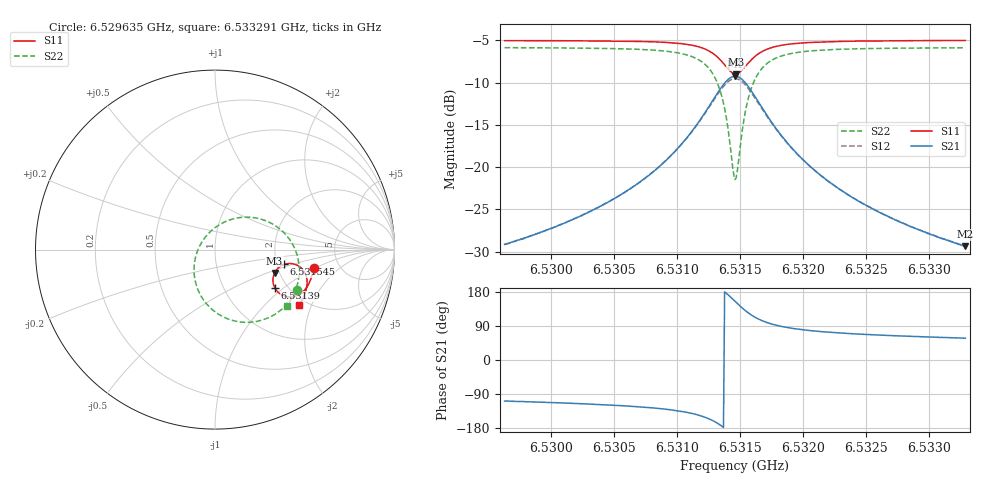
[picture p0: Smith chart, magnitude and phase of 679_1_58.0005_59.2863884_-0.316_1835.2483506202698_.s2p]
#  HZ  S  RI  R  50.00
! Rohde & Schwarz Vector Network Analyzer
! Rohde-Schwarz,ZNB20-2Port,1311601062101988,3.16
! Created: UTC 3/21/2024, 1:20:46 AM
! freq[Hz]  re:S11  im:S11  re:S21  im:S21  re:S12  im:S12  re:S22  im:S22
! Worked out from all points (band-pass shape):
!   401 points, 6.529635 GHz to 6.533291 GHz, reference 50 ohm
!   highest |S21| = -9.24 dB at 6.531463 GHz (marker M1); lowest = -29.3 dB at 6.533291 GHz (marker M2)
!   |S21| within 3 dB of the highest: 6.531281 GHz to 6.531646 GHz (365 kHz wide, 0.00559 % of centre)
!   lowest |S11| = -9.0 dB at 6.531472 GHz (marker M3), VSWR 2.11, Z = 94.2 - j28.1 ohm
!   |S11| at or under -10 dB: nowhere
!   |S22| runs from -21.5 to -5.9 dB; largest |S21 - S12| = 0.015
!   S11 on the Smith chart (normalised r, x): 6.529635 GHz: 3.23, -0.97; 6.53139 GHz: 1.72, -0.87; 6.531545 GHz: 2.20, -0.43; 6.533291 GHz: 1.83, -1.64
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6.5296349e9  0.5509 -0.103  -0.0111 -0.0331  -0.0117 -0.0329  0.4577 -0.2228
6.5302472e9  0.5371 -0.1552  -0.0221 -0.0467  -0.0234 -0.0463  0.4208 -0.2811
6.5305671e9  0.5246 -0.186  -0.0355 -0.0598  -0.037 -0.0588  0.3862 -0.3198
6.5308595e9  0.5041 -0.2192  -0.0618 -0.0792  -0.0642 -0.0772  0.3268 -0.3648
6.5310789e9  0.4715 -0.2487  -0.1104 -0.0992  -0.1136 -0.0949  0.2296 -0.4006
6.5312342e9  0.4202 -0.264  -0.1908 -0.1001  -0.1925 -0.0916  0.0849 -0.3908
6.5313256e9  0.3691 -0.2509  -0.2688 -0.0607  -0.266 -0.049  -0.0418 -0.3082
6.5313622e9  0.3471 -0.233  -0.3009 -0.0234  -0.2947 -0.0115  -0.0881 -0.2394
6.5313896e9  0.3331 -0.2128  -0.3196 0.0151  -0.3102 0.0258  -0.1109 -0.1717
6.5314444e9  0.3236 -0.1587  -0.3244 0.1122  -0.3108 0.1175  -0.0992 -0.0118
6.5314627e9  0.3281 -0.1395  -0.3131 0.1456  -0.2992 0.1482  -0.0745 0.0399
6.5314718e9  0.3318 -0.1304  -0.305 0.1611  -0.2913 0.1627  -0.0584 0.0639
6.5315084e9  0.3551 -0.0998  -0.2595 0.2123  -0.248 0.2098  0.0249 0.1388
6.531545e9  0.3859 -0.0824  -0.2038 0.2409  -0.1952 0.2364  0.1212 0.1757
6.5315815e9  0.4165 -0.0772  -0.1501 0.2485  -0.1445 0.2435  0.2117 0.1785
6.5316181e9  0.4426 -0.0811  -0.1051 0.2419  -0.1016 0.2377  0.2857 0.1596
6.5317277e9  0.4895 -0.1122  -0.0258 0.1948  -0.0245 0.1927  0.4119 0.0616
6.5318557e9  0.5086 -0.1482  0.00777 0.1455  0.00899 0.1446  0.459 -0.0356
6.532075e9  0.513 -0.1912  0.0221 0.0962  0.0232 0.0958  0.4688 -0.1362
6.5323584e9  0.5065 -0.228  0.0235 0.0645  0.0245 0.0642  0.4552 -0.2065
6.5326874e9  0.4949 -0.2599  0.0218 0.0458  0.0225 0.0454  0.4354 -0.2557
6.5332906e9  0.4703 -0.3068  0.0183 0.0288  0.0189 0.0284  0.4003 -0.3134
